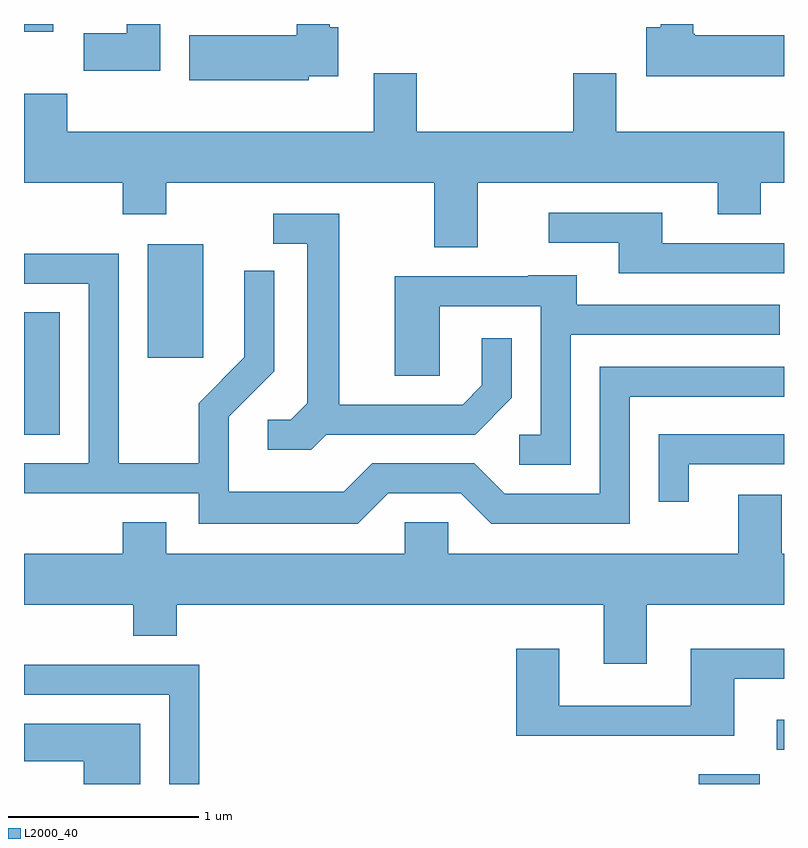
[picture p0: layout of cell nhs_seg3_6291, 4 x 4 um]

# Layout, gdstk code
import gdstk
lib = gdstk.Library(unit=1e-6, precision=1e-09)
def R(c, l, rs):  # rectangles x0, y0, x1, y1
    for r in rs: c.add(gdstk.rectangle(r[:2], r[2:], *l))
def P(c, l, *ps):  # polygons
    for p in ps: c.add(gdstk.Polygon(p, *l))
L2000_40 = (2000, 40)

nhs_seg3_6291 = lib.new_cell('nhs_seg3_6291')
R(nhs_seg3_6291, L2000_40, [(373.161,1193.892,373.484,1193.944), (373.573,1194.071,373.611,1194.229), (369.611,1195.731,369.799,1196.374), (370.261,1196.136,370.554,1196.734), (369.611,1197.851,369.764,1197.892)])
P(nhs_seg3_6291, L2000_40, [(370.329,1197.892),(370.151,1197.892),(370.151,1197.844),(369.926,1197.844),(369.926,1197.646),(370.329,1197.646)],
  [(371.109,1197.616),(371.264,1197.616),(371.264,1197.874),(371.219,1197.874),(371.219,1197.892),(371.046,1197.892),(371.046,1197.834),(370.481,1197.834),(370.481,1197.596),(371.109,1197.596)],
  [(373.611,1197.834),(373.14,1197.834),(373.14,1197.84),(373.134,1197.84),(373.134,1197.892),(372.961,1197.892),(372.961,1197.874),(372.886,1197.874),(372.886,1197.616),(373.611,1197.616)],
  [(371.999,1197.056),(373.261,1197.056),(373.261,1196.891),(373.489,1196.891),(373.489,1197.056),(373.611,1197.056),(373.611,1197.324),(372.729,1197.324),(372.729,1197.634),(372.501,1197.634),(372.501,1197.324),(371.679,1197.324),(371.679,1197.634),(371.451,1197.634),(371.451,1197.324),(369.839,1197.324),(369.839,1197.524),(369.611,1197.524),(369.611,1197.056),(370.131,1197.056),(370.131,1196.891),(370.359,1196.891),(370.359,1197.056),(371.771,1197.056),(371.771,1196.716),(371.999,1196.716)],
  [(373.611,1196.739),(372.969,1196.739),(372.969,1196.899),(372.373,1196.899),(372.373,1196.741),(372.741,1196.741),(372.741,1196.581),(373.611,1196.581)],
  [(371.202,1195.731),(371.987,1195.731),(372.179,1195.924),(372.179,1196.238),(372.021,1196.238),(372.021,1195.992),(371.919,1195.889),(371.269,1195.889),(371.269,1196.894),(370.923,1196.894),(370.923,1196.736),(371.101,1196.736),(371.101,1195.897),(371.014,1195.809),(370.893,1195.809),(370.893,1195.651),(371.122,1195.651)],
  [(371.527,1195.421),(371.909,1195.421),(372.069,1195.261),(372.799,1195.261),(372.799,1195.931),(373.611,1195.931),(373.611,1196.089),(372.641,1196.089),(372.641,1195.419),(372.142,1195.419),(371.982,1195.579),(371.444,1195.579),(371.294,1195.429),(370.689,1195.429),(370.689,1195.824),(370.929,1196.064),(370.929,1196.593),(370.771,1196.593),(370.771,1196.137),(370.531,1195.897),(370.531,1195.579),(370.109,1195.579),(370.109,1196.684),(369.611,1196.684),(369.611,1196.526),(369.951,1196.526),(369.951,1195.579),(369.611,1195.579),(369.611,1195.421),(370.531,1195.421),(370.531,1195.261),(371.367,1195.261)],
  [(372.489,1196.256),(373.588,1196.256),(373.588,1196.414),(372.519,1196.414),(372.519,1196.569),(372.265,1196.569),(372.265,1196.564),(371.561,1196.564),(371.561,1196.041),(371.799,1196.041),(371.799,1196.406),(372.331,1196.406),(372.331,1195.729),(372.218,1195.729),(372.218,1195.571),(372.489,1195.571)],
  [(373.109,1195.576),(373.611,1195.576),(373.611,1195.734),(372.951,1195.734),(372.951,1195.378),(373.109,1195.378)],
  [(372.889,1194.836),(373.611,1194.836),(373.611,1195.104),(373.599,1195.104),(373.599,1195.414),(373.371,1195.414),(373.371,1195.104),(371.844,1195.104),(371.844,1195.269),(371.616,1195.269),(371.616,1195.104),(370.359,1195.104),(370.359,1195.269),(370.131,1195.269),(370.131,1195.104),(369.611,1195.104),(369.611,1194.836),(370.186,1194.836),(370.186,1194.671),(370.414,1194.671),(370.414,1194.836),(372.661,1194.836),(372.661,1194.526),(372.889,1194.526)],
  [(373.349,1194.446),(373.611,1194.446),(373.611,1194.604),(373.121,1194.604),(373.121,1194.304),(372.429,1194.304),(372.429,1194.604),(372.201,1194.604),(372.201,1194.146),(373.349,1194.146)],
  [(370.534,1194.519),(369.611,1194.519),(369.611,1194.361),(370.376,1194.361),(370.376,1193.892),(370.534,1193.892)],
  [(370.224,1194.209),(369.611,1194.209),(369.611,1194.011),(369.926,1194.011),(369.926,1193.892),(370.224,1193.892)])

lib.write_gds('nhs_seg3_6291.gds')
